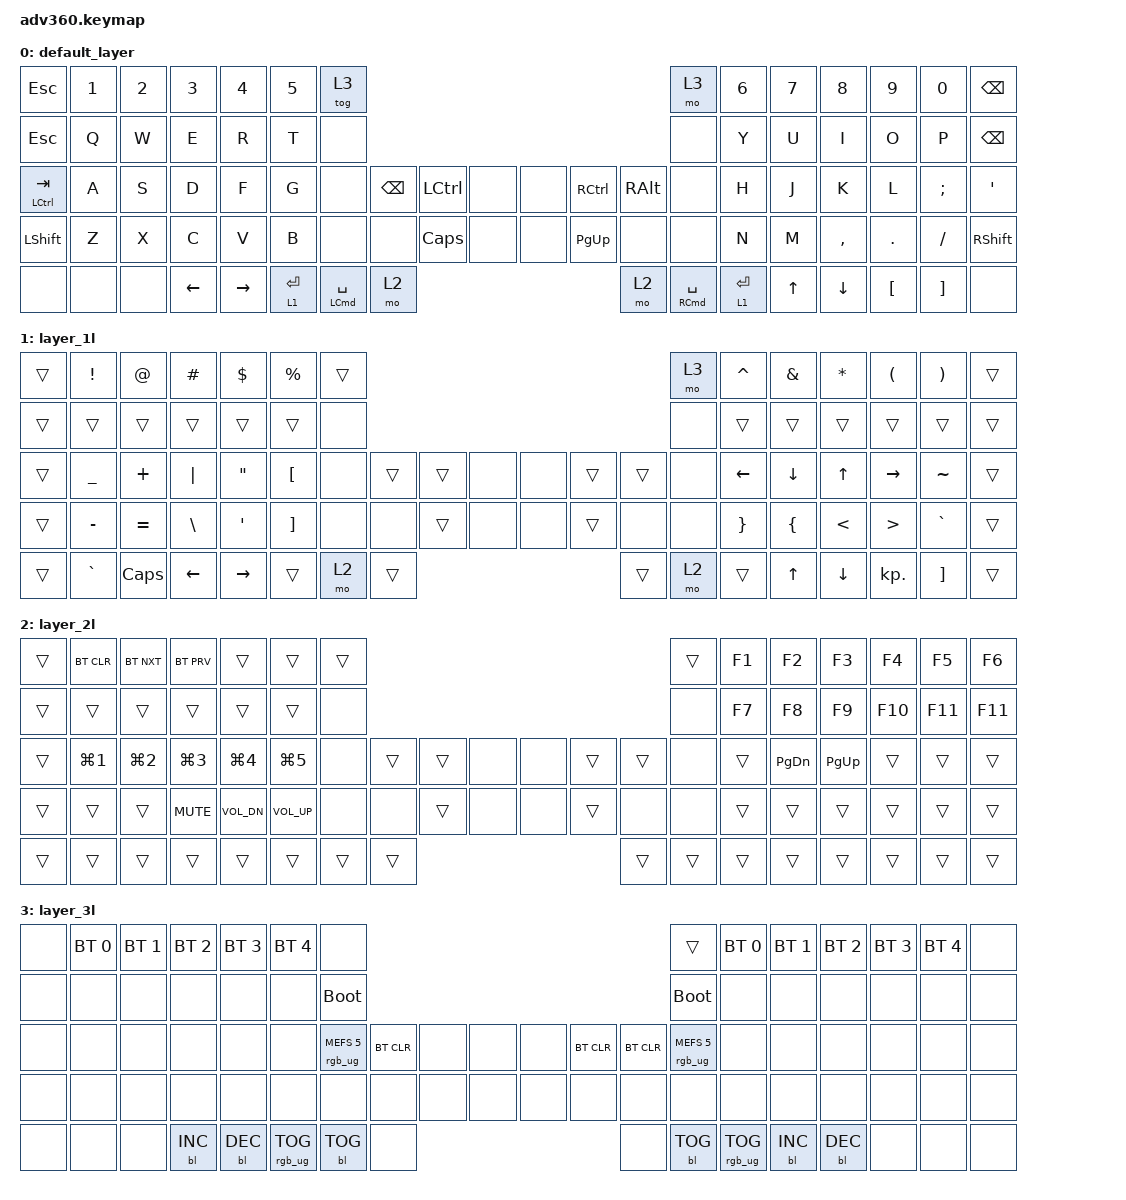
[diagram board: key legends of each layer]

/*
 * Copyright (c) 2020 The ZMK Contributors
 *
 * SPDX-License-Identifier: MIT
 */


/* THIS FILE WAS GENERATED!
 *
 * This file was generated automatically. You may or may not want to
 * edit it directly.
 */

#include <behaviors.dtsi>
#include <dt-bindings/zmk/keys.h>
#include <dt-bindings/zmk/bt.h>
#include <dt-bindings/zmk/rgb.h>
#include <dt-bindings/zmk/backlight.h>

/ {
  behaviors {
    #include "macros.dtsi"
    #include "version.dtsi"

    hm: homerow_mods {
        compatible = "zmk,behavior-hold-tap";
        label = "HOMEROW_MODS";
        #binding-cells = <2>;
        tapping-term-ms = <200>;
        quick_tap_ms = <175>;
        flavor = "tap-preferred";
        bindings = <&kp>, <&kp>;
    };
  };

    keymap {
        compatible = "zmk,keymap";


        default_layer {
            bindings = <
       &kp ESC  &kp N1  &kp N2    &kp N3     &kp N4  &kp N5                 &tog 3                                                                              &mo 3  &kp N6  &kp N7     &kp N8    &kp N9             &kp N0   &kp BSPC
       &kp ESC   &kp Q   &kp W     &kp E      &kp R   &kp T                  &none                                                                              &none   &kp Y   &kp U      &kp I     &kp O              &kp P   &kp BSPC
 &mt LCTRL TAB   &kp A   &kp S     &kp D      &kp F   &kp G                  &none   &kp BACKSPACE  &kp LCTRL   &none   &none  &kp RCTRL   &kp RIGHT_ALT        &none   &kp H   &kp J      &kp K     &kp L           &kp SEMI    &kp SQT
     &kp LSHFT   &kp Z   &kp X     &kp C      &kp V   &kp B                  &none           &none   &kp CAPS   &none   &none  &kp PG_UP           &none        &none   &kp N   &kp M  &kp COMMA   &kp DOT          &kp SLASH  &kp RSHFT
         &none   &none   &none  &kp LEFT  &kp RIGHT                    &lt 1 ENTER  &mt LCMD SPACE      &mo 2                      &mo 2  &mt RCMD SPACE  &lt 1 ENTER          &kp UP   &kp DOWN  &kp LBKT  &kp RIGHT_BRACKET      &none
            >;
        };

        layer_1l {
            bindings = <
 &trans   &kp EXCL     &kp AT  &kp HASH   &kp DLLR  &kp PRCNT            &trans                                                   &mo 3  &kp CARET  &kp AMPS  &kp ASTRK  &kp LEFT_PARENTHESIS  &kp RIGHT_PARENTHESIS  &trans
 &trans     &trans     &trans    &trans     &trans     &trans             &none                                                   &none     &trans    &trans     &trans                &trans                 &trans  &trans
 &trans  &kp UNDER   &kp PLUS  &kp PIPE    &kp DQT   &kp LBKT             &none  &trans  &trans   &none   &none  &trans  &trans   &none   &kp LEFT  &kp DOWN     &kp UP             &kp RIGHT              &kp TILDE  &trans
 &trans  &kp MINUS  &kp EQUAL  &kp BSLH    &kp SQT   &kp RBKT             &none   &none  &trans   &none   &none  &trans   &none   &none   &kp RBRC  &kp LBRC     &kp LT                &kp GT              &kp GRAVE  &trans
 &trans  &kp GRAVE   &kp CAPS  &kp LEFT  &kp RIGHT                       &trans   &mo 2  &trans                  &trans   &mo 2  &trans               &kp UP   &kp DOWN            &kp KP_DOT               &kp RBKT  &trans
            >;
        };

        layer_2l {
            bindings = <
 &trans  &bt BT_CLR  &bt BT_NXT  &bt BT_PRV        &trans        &trans            &trans                                                  &trans  &kp F1     &kp F2     &kp F3   &kp F4   &kp F5   &kp F6
 &trans      &trans      &trans      &trans        &trans        &trans             &none                                                   &none  &kp F7     &kp F8     &kp F9  &kp F10  &kp F11  &kp F11
 &trans  &kp LG(N1)  &kp LG(N2)  &kp LG(N3)    &kp LG(N4)    &kp LG(N5)             &none  &trans  &trans   &none   &none  &trans  &trans   &none  &trans  &kp PG_DN  &kp PG_UP   &trans   &trans   &trans
 &trans      &trans      &trans  &kp C_MUTE  &kp C_VOL_DN  &kp C_VOL_UP             &none   &none  &trans   &none   &none  &trans   &none   &none  &trans     &trans     &trans   &trans   &trans   &trans
 &trans      &trans      &trans      &trans        &trans                          &trans  &trans  &trans                  &trans  &trans  &trans             &trans     &trans   &trans   &trans   &trans
            >;
        };

        layer_3l {
            bindings = <
  &none  &bt BT_SEL 0  &bt BT_SEL 1  &bt BT_SEL 2  &bt BT_SEL 3  &bt BT_SEL 4                             &none                                                                              &trans  &bt BT_SEL 0  &bt BT_SEL 1  &bt BT_SEL 2  &bt BT_SEL 3  &bt BT_SEL 4   &none
  &none         &none         &none         &none         &none         &none                       &bootloader                                                                         &bootloader         &none         &none         &none         &none         &none   &none
  &none         &none         &none         &none         &none         &none            &rgb_ug RGB_MEFS_CMD 5  &bt BT_CLR   &none   &none   &none  &bt BT_CLR  &bt BT_CLR  &rgb_ug RGB_MEFS_CMD 5         &none         &none         &none         &none         &none   &none
  &none         &none         &none         &none         &none         &none                             &none       &none   &none   &none   &none       &none       &none                   &none         &none         &none         &none         &none         &none   &none
  &none         &none         &none    &bl BL_INC    &bl BL_DEC                                 &rgb_ug RGB_TOG  &bl BL_TOG   &none                       &none  &bl BL_TOG         &rgb_ug RGB_TOG                  &bl BL_INC    &bl BL_DEC         &none         &none   &none
            >;
        };

    };
};
